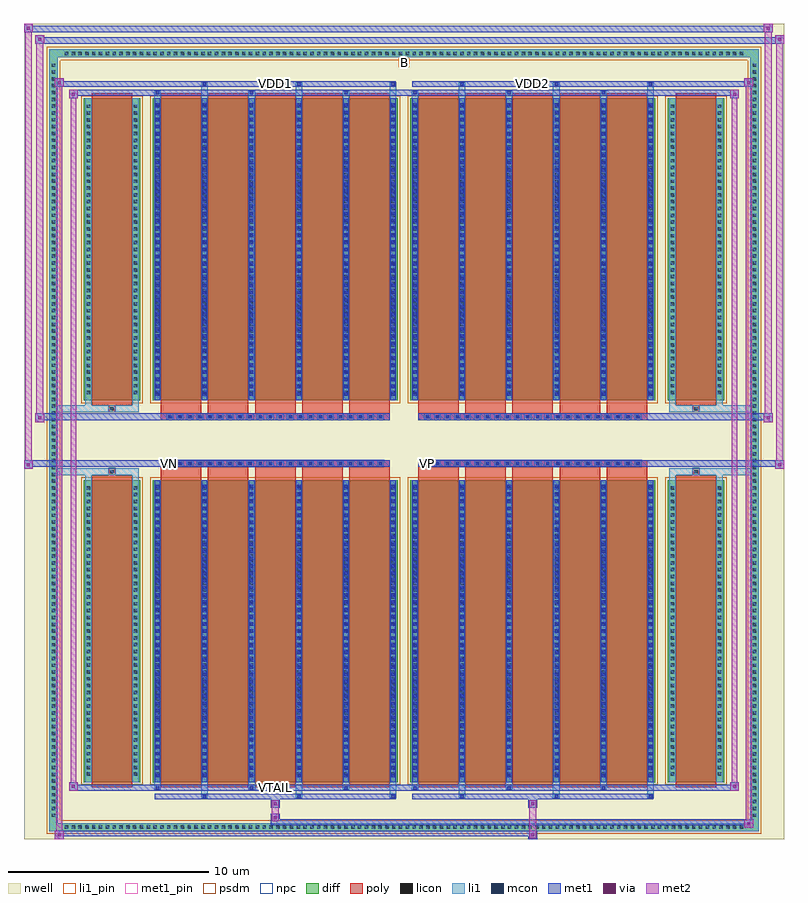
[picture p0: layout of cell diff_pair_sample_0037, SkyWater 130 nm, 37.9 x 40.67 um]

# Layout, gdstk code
import gdstk
lib = gdstk.Library(unit=1e-6, precision=5e-09)
def R(c, l, rs):  # rectangles x0, y0, x1, y1
    for r in rs: c.add(gdstk.rectangle(r[:2], r[2:], *l))
def A(c, l, x, y, w, h, nx, ny, dx, dy):  # array of equal rectangles
    R(c, l, [(x+i*dx, y+j*dy, x+i*dx+w, y+j*dy+h) for i in range(nx) for j in range(ny)])
def P(c, l, *ps):  # polygons
    for p in ps: c.add(gdstk.Polygon(p, *l))
nwell = (64, 20)
diff = (65, 20)
poly = (66, 20)
licon = (66, 44)
li1_pin = (67, 16)
li1 = (67, 20)
mcon = (67, 44)
met1_pin = (68, 16)
met1 = (68, 20)
via = (68, 44)
met2 = (69, 20)
psdm = (94, 20)
npc = (95, 20)

diff_pair_sample_0037 = lib.new_cell('diff_pair_sample_0037')
R(diff_pair_sample_0037, nwell, [(-18.95,-19.9,18.95,20.77), (-16.27,-18.09,-0.01,-0.805), (0.01,-18.09,16.27,-0.805), (-16.27,0.805,-0.01,18.09), (0.01,0.805,16.27,18.09)])
A(diff_pair_sample_0037, diff, -17.035, -19.5, 0.41, 0.41, 100, 2, 0.34, 38.59)
A(diff_pair_sample_0037, diff, -17.68, -18.905, 0.41, 0.41, 1, 111, 0, 0.34)
A(diff_pair_sample_0037, diff, 17.27, -18.905, 0.41, 0.41, 1, 111, 0, 0.34)
R(diff_pair_sample_0037, diff, [(-17.035,-19.5,17.035,-19.09), (-17.68,-18.905,-17.27,18.905), (17.27,-18.905,17.68,18.905), (-15.96,-17.045,-13.16,-1.985), (-12.52,-17.045,-0.32,-1.985), (0.32,-17.045,12.52,-1.985), (13.16,-17.045,15.96,-1.985), (-15.96,1.985,-13.16,17.045), (-12.52,1.985,-0.32,17.045), (0.32,1.985,12.52,17.045), (13.16,1.985,15.96,17.045), (-17.035,19.09,17.035,19.5)])
P(diff_pair_sample_0037, diff, [(17.68,19.5),(-17.68,19.5),(-17.68,-19.09),(-17.27,-19.09),(-17.27,19.09),(17.27,19.09),(17.27,-19.09),(-17.27,-19.09),(-17.68,-19.09),(-17.68,-19.5),(17.68,-19.5)])
A(diff_pair_sample_0037, poly, -12.13, -17.295, 2.02, 15.56, 5, 2, 2.35, 19.03)
A(diff_pair_sample_0037, poly, 0.71, -17.295, 2.02, 15.56, 5, 2, 2.35, 19.03)
A(diff_pair_sample_0037, poly, -12.13, -1.735, 2.02, 0.4, 5, 2, 2.35, 3.07)
A(diff_pair_sample_0037, poly, 0.71, -1.735, 2.02, 0.4, 5, 2, 2.35, 3.07)
A(diff_pair_sample_0037, poly, -11.835, -1.335, 0.33, 0.33, 22, 2, 0.5, 2.34)
A(diff_pair_sample_0037, poly, 1.005, -1.335, 0.33, 0.33, 22, 2, 0.5, 2.34)
R(diff_pair_sample_0037, poly, [(-15.57,-17.295,-13.55,-1.735), (13.55,-17.295,15.57,-1.735), (-14.725,-1.735,-14.395,-1.405), (-14.725,-1.735,-14.395,-1.405), (14.395,-1.735,14.725,-1.405), (14.395,-1.735,14.725,-1.405), (-12.13,-1.335,-0.71,-1.005), (0.71,-1.335,12.13,-1.005), (-12.13,1.005,-0.71,1.335), (0.71,1.005,12.13,1.335), (-14.725,1.405,-14.395,1.735), (-14.725,1.405,-14.395,1.735), (14.395,1.405,14.725,1.735), (14.395,1.405,14.725,1.735), (-15.57,1.735,-13.55,17.295), (13.55,1.735,15.57,17.295)])
A(diff_pair_sample_0037, licon, -16.915, -19.38, 0.17, 0.17, 100, 2, 0.34, 38.59)
A(diff_pair_sample_0037, licon, -17.56, -18.785, 0.17, 0.17, 1, 111, 0, 0.34)
A(diff_pair_sample_0037, licon, 17.39, -18.785, 0.17, 0.17, 1, 111, 0, 0.34)
A(diff_pair_sample_0037, licon, -15.82, -16.74, 0.17, 0.17, 1, 43, 0, 0.34)
A(diff_pair_sample_0037, licon, -13.47, -16.74, 0.17, 0.17, 1, 43, 0, 0.34)
A(diff_pair_sample_0037, licon, -12.38, -16.74, 0.17, 0.17, 6, 43, 2.35, 0.34)
A(diff_pair_sample_0037, licon, 0.46, -16.74, 0.17, 0.17, 6, 43, 2.35, 0.34)
A(diff_pair_sample_0037, licon, 13.3, -16.74, 0.17, 0.17, 1, 43, 0, 0.34)
A(diff_pair_sample_0037, licon, 15.65, -16.74, 0.17, 0.17, 1, 43, 0, 0.34)
A(diff_pair_sample_0037, licon, -11.755, -1.255, 0.17, 0.17, 22, 2, 0.5, 2.34)
A(diff_pair_sample_0037, licon, 1.085, -1.255, 0.17, 0.17, 22, 2, 0.5, 2.34)
A(diff_pair_sample_0037, licon, -15.82, 2.29, 0.17, 0.17, 1, 43, 0, 0.34)
A(diff_pair_sample_0037, licon, -13.47, 2.29, 0.17, 0.17, 1, 43, 0, 0.34)
A(diff_pair_sample_0037, licon, -12.38, 2.29, 0.17, 0.17, 6, 43, 2.35, 0.34)
A(diff_pair_sample_0037, licon, 0.46, 2.29, 0.17, 0.17, 6, 43, 2.35, 0.34)
A(diff_pair_sample_0037, licon, 13.3, 2.29, 0.17, 0.17, 1, 43, 0, 0.34)
A(diff_pair_sample_0037, licon, 15.65, 2.29, 0.17, 0.17, 1, 43, 0, 0.34)
R(diff_pair_sample_0037, licon, [(-14.645,-1.655,-14.475,-1.485), (14.475,-1.655,14.645,-1.485), (-14.645,1.485,-14.475,1.655), (14.475,1.485,14.645,1.655)])
R(diff_pair_sample_0037, li1_pin, [(-0.25,18.59,0.25,19.09)])
A(diff_pair_sample_0037, li1, -16.995, -19.46, 0.33, 0.33, 100, 2, 0.34, 38.59)
A(diff_pair_sample_0037, li1, -17.64, -18.865, 0.33, 0.33, 1, 111, 0, 0.34)
A(diff_pair_sample_0037, li1, 17.31, -18.865, 0.33, 0.33, 1, 111, 0, 0.34)
A(diff_pair_sample_0037, li1, -10.11, -17.85, 0.33, 0.805, 3, 2, 4.7, 34.895)
A(diff_pair_sample_0037, li1, -10.03, -17.85, 0.17, 0.17, 3, 2, 4.7, 35.53)
A(diff_pair_sample_0037, li1, 2.73, -17.85, 0.33, 0.805, 3, 2, 4.7, 34.895)
A(diff_pair_sample_0037, li1, 2.81, -17.85, 0.17, 0.17, 3, 2, 4.7, 35.53)
A(diff_pair_sample_0037, li1, -12.46, -17.42, 0.33, 0.375, 3, 2, 4.7, 34.465)
A(diff_pair_sample_0037, li1, -12.38, -17.42, 0.17, 0.17, 3, 2, 4.7, 34.67)
A(diff_pair_sample_0037, li1, 0.38, -17.42, 0.33, 0.375, 3, 2, 4.7, 34.465)
A(diff_pair_sample_0037, li1, 0.46, -17.42, 0.17, 0.17, 3, 2, 4.7, 34.67)
A(diff_pair_sample_0037, li1, -12.46, -17.045, 0.33, 15.06, 6, 2, 2.35, 19.03)
A(diff_pair_sample_0037, li1, 0.38, -17.045, 0.33, 15.06, 6, 2, 2.35, 19.03)
A(diff_pair_sample_0037, li1, -15.9, -16.82, 0.33, 0.33, 1, 43, 0, 0.34)
A(diff_pair_sample_0037, li1, -13.55, -16.82, 0.33, 0.33, 1, 43, 0, 0.34)
A(diff_pair_sample_0037, li1, -12.46, -16.82, 0.33, 0.33, 6, 43, 2.35, 0.34)
A(diff_pair_sample_0037, li1, 0.38, -16.82, 0.33, 0.33, 6, 43, 2.35, 0.34)
A(diff_pair_sample_0037, li1, 13.22, -16.82, 0.33, 0.33, 1, 43, 0, 0.34)
A(diff_pair_sample_0037, li1, 15.57, -16.82, 0.33, 0.33, 1, 43, 0, 0.34)
A(diff_pair_sample_0037, li1, -12.38, -16.8, 0.17, 0.17, 6, 41, 2.35, 0.36)
A(diff_pair_sample_0037, li1, -12.38, -16.8, 0.17, 14.57, 6, 2, 2.35, 19.03)
A(diff_pair_sample_0037, li1, 0.46, -16.8, 0.17, 0.17, 6, 41, 2.35, 0.36)
A(diff_pair_sample_0037, li1, 0.46, -16.8, 0.17, 14.57, 6, 2, 2.35, 19.03)
A(diff_pair_sample_0037, li1, -11.835, -1.335, 0.33, 0.33, 22, 2, 0.5, 2.34)
A(diff_pair_sample_0037, li1, 1.005, -1.335, 0.33, 0.33, 22, 2, 0.5, 2.34)
A(diff_pair_sample_0037, li1, -15.9, 2.21, 0.33, 0.33, 1, 43, 0, 0.34)
A(diff_pair_sample_0037, li1, -13.55, 2.21, 0.33, 0.33, 1, 43, 0, 0.34)
A(diff_pair_sample_0037, li1, -12.46, 2.21, 0.33, 0.33, 6, 43, 2.35, 0.34)
A(diff_pair_sample_0037, li1, 0.38, 2.21, 0.33, 0.33, 6, 43, 2.35, 0.34)
A(diff_pair_sample_0037, li1, 13.22, 2.21, 0.33, 0.33, 1, 43, 0, 0.34)
A(diff_pair_sample_0037, li1, 15.57, 2.21, 0.33, 0.33, 1, 43, 0, 0.34)
A(diff_pair_sample_0037, li1, -12.38, 2.23, 0.17, 0.17, 6, 41, 2.35, 0.36)
A(diff_pair_sample_0037, li1, 0.46, 2.23, 0.17, 0.17, 6, 41, 2.35, 0.36)
R(diff_pair_sample_0037, li1, [(-17.68,-19.5,-17.27,-19.09), (-17.68,-19.5,-17.27,-19.09), (-17.27,-19.5,17.27,-19.09), (17.27,-19.5,17.68,-19.09), (17.27,-19.5,17.68,-19.09), (-17.68,-19.09,-17.27,19.09), (17.27,-19.09,17.68,19.09), (-15.9,-17.045,-15.57,-1.985), (-13.55,-17.045,-13.22,-1.985), (13.22,-17.045,13.55,-1.985), (15.57,-17.045,15.9,-1.985), (-15.9,-1.985,-15.57,-1.405), (-13.55,-1.985,-13.22,-1.405), (13.22,-1.985,13.55,-1.405), (15.57,-1.985,15.9,-1.405), (-17.68,-1.735,-14.725,-1.405), (-15.9,-1.735,-14.725,-1.405), (-14.725,-1.735,-14.395,-1.405), (-14.395,-1.735,-13.22,-1.405), (13.22,-1.735,14.395,-1.405), (14.395,-1.735,14.725,-1.405), (14.395,-1.735,17.68,-1.405), (14.725,-1.735,15.9,-1.405), (-17.68,1.405,-14.725,1.735), (-15.9,1.405,-14.725,1.735), (-15.9,1.405,-15.57,1.985), (-14.725,1.405,-14.395,1.735), (-14.395,1.405,-13.22,1.735), (-13.55,1.405,-13.22,1.985), (13.22,1.405,14.395,1.735), (13.22,1.405,13.55,1.985), (14.395,1.405,14.725,1.735), (14.395,1.405,17.68,1.735), (14.725,1.405,15.9,1.735), (15.57,1.405,15.9,1.985), (-15.9,1.985,-15.57,17.045), (-13.55,1.985,-13.22,17.045), (13.22,1.985,13.55,17.045), (15.57,1.985,15.9,17.045), (-17.68,19.09,-17.27,19.5), (-17.68,19.09,-17.27,19.5), (-17.27,19.09,17.27,19.5), (17.27,19.09,17.68,19.5), (17.27,19.09,17.68,19.5)])
A(diff_pair_sample_0037, mcon, -10.03, -17.85, 0.17, 0.17, 3, 2, 4.7, 35.53)
A(diff_pair_sample_0037, mcon, 2.81, -17.85, 0.17, 0.17, 3, 2, 4.7, 35.53)
A(diff_pair_sample_0037, mcon, -12.38, -17.42, 0.17, 0.17, 3, 2, 4.7, 34.67)
A(diff_pair_sample_0037, mcon, 0.46, -17.42, 0.17, 0.17, 3, 2, 4.7, 34.67)
A(diff_pair_sample_0037, mcon, -12.38, -16.8, 0.17, 0.17, 6, 41, 2.35, 0.36)
A(diff_pair_sample_0037, mcon, 0.46, -16.8, 0.17, 0.17, 6, 41, 2.35, 0.36)
A(diff_pair_sample_0037, mcon, -11.755, -1.255, 0.17, 0.17, 22, 2, 0.5, 2.34)
A(diff_pair_sample_0037, mcon, 1.085, -1.255, 0.17, 0.17, 22, 2, 0.5, 2.34)
A(diff_pair_sample_0037, mcon, -12.38, 2.23, 0.17, 0.17, 6, 41, 2.35, 0.36)
A(diff_pair_sample_0037, mcon, 0.46, 2.23, 0.17, 0.17, 6, 41, 2.35, 0.36)
R(diff_pair_sample_0037, met1_pin, [(-6.555,-17.46,-6.285,-17.19), (-11.805,-1.295,-11.535,-1.025), (1.035,-1.295,1.305,-1.025), (-6.555,17.64,-6.285,17.91), (6.285,17.64,6.555,17.91)])
A(diff_pair_sample_0037, met1, -10.09, -17.91, 0.29, 0.29, 3, 2, 4.7, 35.53)
A(diff_pair_sample_0037, met1, 2.75, -17.91, 0.29, 0.29, 3, 2, 4.7, 35.53)
A(diff_pair_sample_0037, met1, -12.44, -17.48, 0.29, 0.29, 3, 2, 4.7, 34.67)
A(diff_pair_sample_0037, met1, 0.4, -17.48, 0.29, 0.29, 3, 2, 4.7, 34.67)
A(diff_pair_sample_0037, met1, -12.44, -17.045, 0.29, 15.06, 6, 2, 2.35, 19.03)
A(diff_pair_sample_0037, met1, 0.4, -17.045, 0.29, 15.06, 6, 2, 2.35, 19.03)
A(diff_pair_sample_0037, met1, -12.44, -16.86, 0.29, 0.29, 6, 41, 2.35, 0.36)
A(diff_pair_sample_0037, met1, 0.4, -16.86, 0.29, 0.29, 6, 41, 2.35, 0.36)
A(diff_pair_sample_0037, met1, -11.815, -1.315, 0.29, 0.29, 22, 2, 0.5, 2.34)
A(diff_pair_sample_0037, met1, 1.025, -1.315, 0.29, 0.29, 22, 2, 0.5, 2.34)
A(diff_pair_sample_0037, met1, -12.44, 2.17, 0.29, 0.29, 6, 41, 2.35, 0.36)
A(diff_pair_sample_0037, met1, 0.4, 2.17, 0.29, 0.29, 6, 41, 2.35, 0.36)
R(diff_pair_sample_0037, met1, [(-17.41,-19.9,-16.98,-19.47), (6.205,-19.9,6.635,-19.47), (-17.41,-19.76,6.635,-19.47), (16.98,-19.33,17.41,-18.9), (-6.635,-19.19,17.41,-18.9), (-6.635,-19.05,-6.205,-18.62), (-6.635,-18.34,-6.205,-17.91), (6.205,-18.34,6.635,-17.91), (-12.44,-17.91,-0.4,-17.62), (0.4,-17.91,12.44,-17.62), (-16.7,-17.48,-16.27,-17.05), (-16.7,-17.48,-12.44,-17.19), (-12.44,-17.48,-0.4,-17.19), (-0.4,-17.48,0.4,-17.19), (0.4,-17.48,12.44,-17.19), (12.44,-17.48,16.7,-17.19), (16.27,-17.48,16.7,-17.05), (-18.95,-1.435,-18.52,-1.005), (18.52,-1.435,18.95,-1.005), (-18.95,-1.335,-0.71,-1.005), (-12.13,-1.335,-0.71,-1.005), (0.71,-1.335,12.13,-1.005), (0.71,-1.335,18.95,-1.005), (-18.38,0.905,-17.95,1.335), (17.95,0.905,18.38,1.335), (-18.38,1.005,-12.13,1.335), (-12.13,1.005,-0.71,1.335), (0.71,1.005,12.13,1.335), (12.13,1.005,18.38,1.335), (-16.7,17.05,-16.27,17.48), (16.27,17.05,16.7,17.48), (-16.7,17.19,-12.44,17.48), (-12.44,17.19,-0.4,17.48), (-0.4,17.19,0.4,17.48), (0.4,17.19,12.44,17.48), (12.44,17.19,16.7,17.48), (-17.41,17.62,-16.98,18.05), (-17.41,17.62,-12.44,17.91), (-12.44,17.62,-0.4,17.91), (0.4,17.62,12.44,17.91), (12.44,17.62,17.41,17.91), (16.98,17.62,17.41,18.05), (-18.38,19.77,-17.95,20.2), (-18.38,19.77,-16.27,20.1), (-16.27,19.77,16.27,20.1), (16.27,19.77,18.95,20.1), (18.52,19.77,18.95,20.2), (-18.95,20.34,-18.52,20.77), (-18.95,20.34,-16.27,20.67), (-16.27,20.34,16.27,20.67), (16.27,20.34,18.38,20.67), (17.95,20.34,18.38,20.77)])
R(diff_pair_sample_0037, via, [(-17.27,-19.76,-17.12,-19.61), (6.345,-19.76,6.495,-19.61), (17.12,-19.19,17.27,-19.04), (-6.495,-18.91,-6.345,-18.76), (-6.495,-18.2,-6.345,-18.05), (6.345,-18.2,6.495,-18.05), (-16.56,-17.34,-16.41,-17.19), (16.41,-17.34,16.56,-17.19), (-18.81,-1.295,-18.66,-1.145), (18.66,-1.295,18.81,-1.145), (-18.24,1.045,-18.09,1.195), (18.09,1.045,18.24,1.195), (-16.56,17.19,-16.41,17.34), (16.41,17.19,16.56,17.34), (-17.27,17.76,-17.12,17.91), (17.12,17.76,17.27,17.91), (-18.24,19.91,-18.09,20.06), (18.66,19.91,18.81,20.06), (-18.81,20.48,-18.66,20.63), (18.09,20.48,18.24,20.63)])
R(diff_pair_sample_0037, met2, [(-17.41,-19.9,-16.98,-19.47), (-17.34,-19.9,-17.05,18.05), (-17.05,-19.9,-16.98,-19.47), (-17.36,-19.85,-17.03,-19.52), (6.255,-19.85,6.585,-19.52), (6.255,-19.52,6.585,-18.29), (16.98,-19.33,17.41,-18.9), (17.05,-19.33,17.34,18.05), (17.34,-19.33,17.41,-18.9), (17.03,-19.28,17.36,-18.95), (-6.585,-19,-6.255,-18.67), (-6.585,-18.67,-6.255,-18.29), (-6.585,-18.29,-6.255,-17.96), (6.255,-18.29,6.585,-17.96), (-16.7,-17.48,-16.27,-17.05), (-16.63,-17.48,-16.34,17.48), (-16.34,-17.48,-16.27,-17.05), (16.27,-17.48,16.7,-17.05), (16.34,-17.48,16.63,17.48), (16.63,-17.48,16.7,-17.05), (-16.65,-17.43,-16.32,-17.1), (16.32,-17.43,16.65,-17.1), (-18.95,-1.435,-18.52,-1.005), (-18.9,-1.435,-18.57,20.77), (-18.57,-1.435,-18.52,-1.005), (18.52,-1.435,18.95,-1.005), (18.57,-1.435,18.9,20.2), (18.9,-1.435,18.95,-1.005), (-18.9,-1.385,-18.57,-1.055), (18.57,-1.385,18.9,-1.055), (-18.38,0.905,-17.95,1.335), (-18.33,0.905,-18,20.2), (-18,0.905,-17.95,1.335), (17.95,0.905,18.38,1.335), (18,0.905,18.33,20.77), (18.33,0.905,18.38,1.335), (-18.33,0.955,-18,1.285), (18,0.955,18.33,1.285), (-16.7,17.05,-16.27,17.48), (-16.34,17.05,-16.27,17.48), (16.27,17.05,16.7,17.48), (16.63,17.05,16.7,17.48), (-16.65,17.1,-16.32,17.43), (16.32,17.1,16.65,17.43), (-17.41,17.62,-16.98,18.05), (-17.05,17.62,-16.98,18.05), (16.98,17.62,17.41,18.05), (17.34,17.62,17.41,18.05), (-17.36,17.67,-17.03,18), (17.03,17.67,17.36,18), (-18.38,19.77,-17.95,20.2), (-18,19.77,-17.95,20.2), (18.52,19.77,18.95,20.2), (18.9,19.77,18.95,20.2), (-18.33,19.82,-18,20.15), (18.57,19.82,18.9,20.15), (-18.95,20.34,-18.52,20.77), (-18.57,20.34,-18.52,20.77), (17.95,20.34,18.38,20.77), (18.33,20.34,18.38,20.77), (-18.9,20.39,-18.57,20.72), (18,20.39,18.33,20.72)])
R(diff_pair_sample_0037, psdm, [(-16.09,-17.175,-13.03,-1.855), (-12.65,-17.175,-0.19,-1.855), (0.19,-17.175,12.65,-1.855), (13.03,-17.175,16.09,-1.855), (-16.09,1.855,-13.03,17.175), (-12.65,1.855,-0.19,17.175), (0.19,1.855,12.65,17.175), (13.03,1.855,16.09,17.175)])
P(diff_pair_sample_0037, psdm, [(17.81,19.63),(-17.81,19.63),(-17.81,-18.96),(-17.14,-18.96),(-17.14,18.96),(17.14,18.96),(17.14,-18.96),(-17.14,-18.96),(-17.81,-18.96),(-17.81,-19.63),(17.81,-19.63)])
A(diff_pair_sample_0037, npc, -11.855, -1.355, 0.37, 0.37, 22, 2, 0.5, 2.34)
A(diff_pair_sample_0037, npc, 0.985, -1.355, 0.37, 0.37, 22, 2, 0.5, 2.34)
R(diff_pair_sample_0037, npc, [(-14.745,-1.755,-14.375,-1.385), (14.375,-1.755,14.745,-1.385), (-11.855,-1.355,-10.985,-0.985), (-11.855,-1.355,-10.985,-0.985), (-11.355,-1.355,-10.485,-0.985), (-11.355,-1.355,-10.485,-0.985), (-10.855,-1.355,-9.985,-0.985), (-10.855,-1.355,-9.985,-0.985), (-10.355,-1.355,-9.485,-0.985), (-10.355,-1.355,-9.485,-0.985), (-9.855,-1.355,-8.985,-0.985), (-9.855,-1.355,-8.985,-0.985), (-9.355,-1.355,-8.485,-0.985), (-9.355,-1.355,-8.485,-0.985), (-8.855,-1.355,-7.985,-0.985), (-8.855,-1.355,-7.985,-0.985), (-8.355,-1.355,-7.485,-0.985), (-8.355,-1.355,-7.485,-0.985), (-7.855,-1.355,-6.985,-0.985), (-7.855,-1.355,-6.985,-0.985), (-7.355,-1.355,-6.485,-0.985), (-7.355,-1.355,-6.485,-0.985), (-6.855,-1.355,-5.985,-0.985), (-6.855,-1.355,-5.985,-0.985), (-6.355,-1.355,-5.485,-0.985), (-6.355,-1.355,-5.485,-0.985), (-5.855,-1.355,-4.985,-0.985), (-5.855,-1.355,-4.985,-0.985), (-5.355,-1.355,-4.485,-0.985), (-5.355,-1.355,-4.485,-0.985), (-4.855,-1.355,-3.985,-0.985), (-4.855,-1.355,-3.985,-0.985), (-4.355,-1.355,-3.485,-0.985), (-4.355,-1.355,-3.485,-0.985), (-3.855,-1.355,-2.985,-0.985), (-3.855,-1.355,-2.985,-0.985), (-3.355,-1.355,-2.485,-0.985), (-3.355,-1.355,-2.485,-0.985), (-2.855,-1.355,-1.985,-0.985), (-2.855,-1.355,-1.985,-0.985), (-2.355,-1.355,-1.485,-0.985), (-2.355,-1.355,-1.485,-0.985), (-1.855,-1.355,-0.985,-0.985), (-1.855,-1.355,-0.985,-0.985), (0.985,-1.355,1.855,-0.985), (0.985,-1.355,1.855,-0.985), (1.485,-1.355,2.355,-0.985), (1.485,-1.355,2.355,-0.985), (1.985,-1.355,2.855,-0.985), (1.985,-1.355,2.855,-0.985), (2.485,-1.355,3.355,-0.985), (2.485,-1.355,3.355,-0.985), (2.985,-1.355,3.855,-0.985), (2.985,-1.355,3.855,-0.985), (3.485,-1.355,4.355,-0.985), (3.485,-1.355,4.355,-0.985), (3.985,-1.355,4.855,-0.985), (3.985,-1.355,4.855,-0.985), (4.485,-1.355,5.355,-0.985), (4.485,-1.355,5.355,-0.985), (4.985,-1.355,5.855,-0.985), (4.985,-1.355,5.855,-0.985), (5.485,-1.355,6.355,-0.985), (5.485,-1.355,6.355,-0.985), (5.985,-1.355,6.855,-0.985), (5.985,-1.355,6.855,-0.985), (6.485,-1.355,7.355,-0.985), (6.485,-1.355,7.355,-0.985), (6.985,-1.355,7.855,-0.985), (6.985,-1.355,7.855,-0.985), (7.485,-1.355,8.355,-0.985), (7.485,-1.355,8.355,-0.985), (7.985,-1.355,8.855,-0.985), (7.985,-1.355,8.855,-0.985), (8.485,-1.355,9.355,-0.985), (8.485,-1.355,9.355,-0.985), (8.985,-1.355,9.855,-0.985), (8.985,-1.355,9.855,-0.985), (9.485,-1.355,10.355,-0.985), (9.485,-1.355,10.355,-0.985), (9.985,-1.355,10.855,-0.985), (9.985,-1.355,10.855,-0.985), (10.485,-1.355,11.355,-0.985), (10.485,-1.355,11.355,-0.985), (10.985,-1.355,11.855,-0.985), (10.985,-1.355,11.855,-0.985), (-11.855,0.985,-10.985,1.355), (-11.855,0.985,-10.985,1.355), (-11.355,0.985,-10.485,1.355), (-11.355,0.985,-10.485,1.355), (-10.855,0.985,-9.985,1.355), (-10.855,0.985,-9.985,1.355), (-10.355,0.985,-9.485,1.355), (-10.355,0.985,-9.485,1.355), (-9.855,0.985,-8.985,1.355), (-9.855,0.985,-8.985,1.355), (-9.355,0.985,-8.485,1.355), (-9.355,0.985,-8.485,1.355), (-8.855,0.985,-7.985,1.355), (-8.855,0.985,-7.985,1.355), (-8.355,0.985,-7.485,1.355), (-8.355,0.985,-7.485,1.355), (-7.855,0.985,-6.985,1.355), (-7.855,0.985,-6.985,1.355), (-7.355,0.985,-6.485,1.355), (-7.355,0.985,-6.485,1.355), (-6.855,0.985,-5.985,1.355), (-6.855,0.985,-5.985,1.355), (-6.355,0.985,-5.485,1.355), (-6.355,0.985,-5.485,1.355), (-5.855,0.985,-4.985,1.355), (-5.855,0.985,-4.985,1.355), (-5.355,0.985,-4.485,1.355), (-5.355,0.985,-4.485,1.355), (-4.855,0.985,-3.985,1.355), (-4.855,0.985,-3.985,1.355), (-4.355,0.985,-3.485,1.355), (-4.355,0.985,-3.485,1.355), (-3.855,0.985,-2.985,1.355), (-3.855,0.985,-2.985,1.355), (-3.355,0.985,-2.485,1.355), (-3.355,0.985,-2.485,1.355), (-2.855,0.985,-1.985,1.355), (-2.855,0.985,-1.985,1.355), (-2.355,0.985,-1.485,1.355), (-2.355,0.985,-1.485,1.355), (-1.855,0.985,-0.985,1.355), (-1.855,0.985,-0.985,1.355), (0.985,0.985,1.855,1.355), (0.985,0.985,1.855,1.355), (1.485,0.985,2.355,1.355), (1.485,0.985,2.355,1.355), (1.985,0.985,2.855,1.355), (1.985,0.985,2.855,1.355), (2.485,0.985,3.355,1.355), (2.485,0.985,3.355,1.355), (2.985,0.985,3.855,1.355), (2.985,0.985,3.855,1.355), (3.485,0.985,4.355,1.355), (3.485,0.985,4.355,1.355), (3.985,0.985,4.855,1.355), (3.985,0.985,4.855,1.355), (4.485,0.985,5.355,1.355), (4.485,0.985,5.355,1.355), (4.985,0.985,5.855,1.355), (4.985,0.985,5.855,1.355), (5.485,0.985,6.355,1.355), (5.485,0.985,6.355,1.355), (5.985,0.985,6.855,1.355), (5.985,0.985,6.855,1.355), (6.485,0.985,7.355,1.355), (6.485,0.985,7.355,1.355), (6.985,0.985,7.855,1.355), (6.985,0.985,7.855,1.355), (7.485,0.985,8.355,1.355), (7.485,0.985,8.355,1.355), (7.985,0.985,8.855,1.355), (7.985,0.985,8.855,1.355), (8.485,0.985,9.355,1.355), (8.485,0.985,9.355,1.355), (8.985,0.985,9.855,1.355), (8.985,0.985,9.855,1.355), (9.485,0.985,10.355,1.355), (9.485,0.985,10.355,1.355), (9.985,0.985,10.855,1.355), (9.985,0.985,10.855,1.355), (10.485,0.985,11.355,1.355), (10.485,0.985,11.355,1.355), (10.985,0.985,11.855,1.355), (10.985,0.985,11.855,1.355), (-14.745,1.385,-14.375,1.755), (14.375,1.385,14.745,1.755)])
diff_pair_sample_0037.add(gdstk.Label('VTAIL', (-6.42,-17.325), layer=68, texttype=5))
diff_pair_sample_0037.add(gdstk.Label('VN', (-11.67,-1.16), layer=68, texttype=5))
diff_pair_sample_0037.add(gdstk.Label('VP', (1.17,-1.16), layer=68, texttype=5))
diff_pair_sample_0037.add(gdstk.Label('B', (0,18.84), layer=67, texttype=5))
diff_pair_sample_0037.add(gdstk.Label('VDD2', (6.42,17.775), layer=68, texttype=5))
diff_pair_sample_0037.add(gdstk.Label('VDD1', (-6.42,17.775), layer=68, texttype=5))

lib.write_gds('diff_pair_sample_0037.gds')
